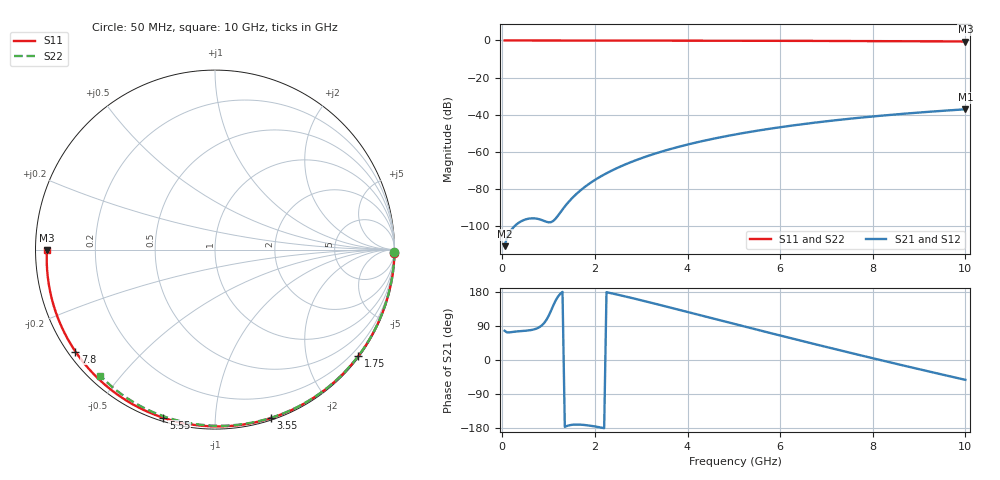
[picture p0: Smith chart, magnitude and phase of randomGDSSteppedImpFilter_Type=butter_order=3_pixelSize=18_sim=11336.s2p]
! freq	dB(S11)	phase(S11)	dB(S12)	phase(S12)
!  dB(S21)	phase(S21)	dB(S22)	phase(S22)
!S-par simulation data
#  GHz  S  DB  R 50
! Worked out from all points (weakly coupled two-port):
!   200 points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, 50 MHz to 10 GHz, reference 50 ohm
!   highest |S21| = -37.11 dB at 10 GHz (marker M1); lowest = -110.9 dB at 50 MHz (marker M2)
!   lowest |S11| = -0.6 dB at 10 GHz (marker M3), VSWR 30.54, Z = 1.64 - j0.0357 ohm
!   |S11| at or under -10 dB: nowhere
!   |S22| runs from -0.4 to 0.0 dB; largest |S21 - S12| = 0
!   S11 on the Smith chart (normalised r, x): 50 MHz: open; 1.75 GHz: 0.03, -3.03; 3.55 GHz: 0.02, -1.38; 5.55 GHz: 0.02, -0.74; 7.8 GHz: 0.02, -0.33; 10 GHz: 0.03, -0.00
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0.05  -0.00 -1.1  -110.91 77.2  -110.91 77.2  -0.00 -0.8
0.45  -0.01 -9.6  -96.97 76.7  -96.97 76.7  -0.01 -6.9
0.85  -0.02 -18.0  -96.79 91.0  -96.79 91.0  -0.02 -12.9
1.25  -0.03 -26.3  -92.83 174.4  -92.83 174.4  -0.02 -18.9
1.7  -0.04 -35.5  -80.59 -170.7  -80.59 -170.7  -0.03 -25.6
1.75  -0.05 -36.5  -79.58 -171.2  -79.58 -171.2  -0.03 -26.4
2.05  -0.05 -42.6  -74.43 -176.4  -74.43 -176.4  -0.04 -30.8
2.25  -0.06 -46.6  -71.60 178.8  -71.60 178.8  -0.04 -33.7
2.45  -0.06 -50.6  -69.12 173.5  -69.12 173.5  -0.05 -36.6
2.9  -0.08 -59.3  -64.42 160.6  -64.42 160.6  -0.06 -43.1
3.4  -0.09 -68.9  -60.22 145.4  -60.22 145.4  -0.07 -50.2
3.55  -0.10 -71.7  -59.11 140.8  -59.11 140.8  -0.07 -52.3
4.3  -0.12 -85.4  -54.37 117.4  -54.37 117.4  -0.09 -62.6
5.05  -0.15 -98.6  -50.60 94.0  -50.60 94.0  -0.11 -72.7
5.55  -0.17 -107.1  -48.47 78.5  -48.47 78.5  -0.13 -79.2
6.1  -0.20 -116.3  -46.42 61.6  -46.42 61.6  -0.15 -86.2
6.7  -0.24 -126.1  -44.46 43.3  -44.46 43.3  -0.18 -93.6
7.25  -0.28 -135.0  -42.87 26.8  -42.87 26.8  -0.21 -100.3
7.8  -0.33 -143.8  -41.45 10.5  -41.45 10.5  -0.25 -106.9
8.35  -0.38 -152.7  -40.19 -5.6  -40.19 -5.6  -0.29 -113.4
9.2  -0.47 -166.5  -38.48 -29.9  -38.48 -29.9  -0.36 -123.2
10  -0.57 -179.9  -37.11 -52.4  -37.11 -52.4  -0.45 -132.3
